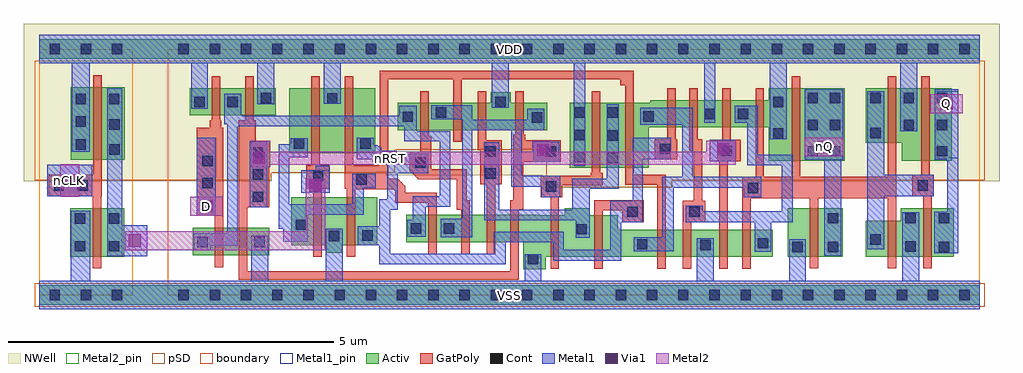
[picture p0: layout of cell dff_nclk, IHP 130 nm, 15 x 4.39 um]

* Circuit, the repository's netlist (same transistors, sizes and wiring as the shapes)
** sch_path: /foss/designs/PROJECTS/cmos-pll-ihp-sg13g2/Combined Design/design_data/xschem/dff_nclk.sch
.SUBCKT dff_nclk nCLK Q D nQ nRST VDD VSS
*.PININFO nCLK:I D:I nRST:I Q:O nQ:O VSS:B VDD:B
x1 net1 D Q nQ nRST VDD VSS sg13g2_dfrbp_1
x2 nCLK VDD VSS net1 sg13g2_inv_1
.ENDS

.SUBCKT sg13g2_dfrbp_1 CLK D Q Q_N RESET_B VDD VSS
*.PININFO CLK:I D:I RESET_B:I Q:O Q_N:O VDD:B VSS:B
MN13 net12 net2 VSS VSS sg13_lv_nmos m=1 w=420.00n l=130.00n ng=1
MN14 net5 clkneg net12 VSS sg13_lv_nmos m=1 w=420.00n l=130.00n ng=1
MN15 net2 net5 net11 VSS sg13_lv_nmos m=1 w=420.00n l=130.00n ng=1
MN16 net11 RESET_B VSS VSS sg13_lv_nmos m=1 w=420.00n l=130.00n ng=1
MN6 Q_N net5 VSS VSS sg13_lv_nmos m=1 w=740.00n l=130.00n ng=1
MN0 Db D net10 VSS sg13_lv_nmos m=1 w=420.00n l=130.00n ng=1
MN1 net10 RESET_B VSS VSS sg13_lv_nmos m=1 w=420.00n l=130.00n ng=1
MN7 Db clkneg net6 VSS sg13_lv_nmos m=1 w=420.00n l=130.00n ng=1
MN8 net6 clkpos net9 VSS sg13_lv_nmos m=1 w=420.00n l=130.00n ng=1
MN9 net9 net4 net8 VSS sg13_lv_nmos m=1 w=420.00n l=130.00n ng=1
MN10 net8 RESET_B VSS VSS sg13_lv_nmos m=1 w=420.00n l=130.00n ng=1
MN11 net4 net6 VSS VSS sg13_lv_nmos m=1 w=640.00n l=130.00n ng=1
MN2 clkneg CLK VSS VSS sg13_lv_nmos m=1 w=740.00n l=130.00n ng=1
MN12 net4 clkpos net5 VSS sg13_lv_nmos m=1 w=640.00n l=130.00n ng=1
MN3 clkpos clkneg VSS VSS sg13_lv_nmos m=1 w=740.00n l=130.00n ng=1
MN4 Q net1 VSS VSS sg13_lv_nmos m=1 w=740.00n l=130.00n ng=1
MN5 net1 net5 VSS VSS sg13_lv_nmos m=1 w=550.00n l=130.00n ng=1
MP14 net5 clkpos net3 VDD sg13_lv_pmos m=1 w=420.00n l=130.00n ng=1
MP15 net2 net5 VDD VDD sg13_lv_pmos m=1 w=420.00n l=130.00n ng=1
MP16 net2 RESET_B VDD VDD sg13_lv_pmos m=1 w=420.00n l=130.00n ng=1
MP6 Q_N net5 VDD VDD sg13_lv_pmos m=1 w=1.12u l=130.00n ng=1
MP7 Db clkpos net6 VDD sg13_lv_pmos m=1 w=420.00n l=130.00n ng=1
MP0 Db RESET_B VDD VDD sg13_lv_pmos m=1 w=420.00n l=130.00n ng=1
MP1 Db D VDD VDD sg13_lv_pmos m=1 w=420.00n l=130.00n ng=1
MP8 net7 net4 VDD VDD sg13_lv_pmos m=1 w=420.00n l=130.00n ng=1
MP9 net6 clkneg net7 VDD sg13_lv_pmos m=1 w=420.00n l=130.00n ng=1
MP10 net6 RESET_B VDD VDD sg13_lv_pmos m=1 w=420.00n l=130.00n ng=1
MP2 clkneg CLK VDD VDD sg13_lv_pmos m=1 w=1.000u l=130.00n ng=1
MP3 clkpos clkneg VDD VDD sg13_lv_pmos m=1 w=1.000u l=130.00n ng=1
MP11 net4 net6 VDD VDD sg13_lv_pmos m=1 w=1.000u l=130.00n ng=1
MP12 net4 clkneg net5 VDD sg13_lv_pmos m=1 w=1.000u l=130.00n ng=1
MP4 Q net1 VDD VDD sg13_lv_pmos m=1 w=1.12u l=130.00n ng=1
MP13 net3 net2 VDD VDD sg13_lv_pmos m=1 w=420.00n l=130.00n ng=1
MP5 net1 net5 VDD VDD sg13_lv_pmos m=1 w=840.00n l=130.00n ng=1
.ENDS

.SUBCKT sg13g2_inv_1 A VDD VSS Y
*.PININFO A:I Y:O VDD:B VSS:B
MX1 Y A VSS VSS sg13_lv_nmos m=1 w=740.00n l=130.00n ng=1
MX0 Y A VDD VDD sg13_lv_pmos m=1 w=1.12u l=130.00n ng=1
.ENDS

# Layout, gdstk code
import gdstk
lib = gdstk.Library(unit=1e-6, precision=1e-09)
def R(c, l, rs):  # rectangles x0, y0, x1, y1
    for r in rs: c.add(gdstk.rectangle(r[:2], r[2:], *l))
def A(c, l, x, y, w, h, nx, ny, dx, dy):  # array of equal rectangles
    R(c, l, [(x+i*dx, y+j*dy, x+i*dx+w, y+j*dy+h) for i in range(nx) for j in range(ny)])
def P(c, l, *ps):  # polygons
    for p in ps: c.add(gdstk.Polygon(p, *l))
Activ = (1, 0)
GatPoly = (5, 0)
Cont = (6, 0)
Metal1 = (8, 0)
Metal1_pin = (8, 2)
Metal2 = (10, 0)
Metal2_pin = (10, 2)
pSD = (14, 0)
Via1 = (19, 0)
NWell = (31, 0)
boundary = (189, 4)

sg13g2_inv_1 = lib.new_cell('sg13g2_inv_1')
R(sg13g2_inv_1, Activ, [(0,-0.15,1.44,0.15), (0.475,0.59,1.305,1.33), (0.485,2.075,1.315,3.195), (0,3.63,1.44,3.93)])
P(sg13g2_inv_1, GatPoly, [(0.825,0.41),(0.825,1.52),(0.145,1.52),(0.145,1.85),(0.835,1.85),(0.835,3.375),(0.965,3.375),(0.965,1.52),(0.955,1.52),(0.955,0.41)])
A(sg13g2_inv_1, Cont, 0.56, 2.235, 0.16, 0.16, 1, 3, 0, 0.35)
R(sg13g2_inv_1, Cont, [(0.16,-0.08,0.32,0.08), (0.16,-0.08,0.32,0.08), (0.64,-0.08,0.8,0.08), (0.64,-0.08,0.8,0.08), (1.12,-0.08,1.28,0.08), (1.12,-0.08,1.28,0.08), (0.55,0.67,0.71,0.83), (1.07,0.67,1.23,0.83), (0.55,1.095,0.71,1.255), (1.07,1.095,1.23,1.255), (0.23,1.605,0.39,1.765), (0.585,1.605,0.745,1.765), (1.08,2.155,1.24,2.315), (1.08,2.54,1.24,2.7), (1.075,2.93,1.235,3.09), (0.16,3.7,0.32,3.86), (0.16,3.7,0.32,3.86), (0.64,3.7,0.8,3.86), (0.64,3.7,0.8,3.86), (1.12,3.7,1.28,3.86), (1.12,3.7,1.28,3.86)])
R(sg13g2_inv_1, Metal1, [(1.045,0.595,1.275,3.175), (0.125,1.52,0.815,2)])
P(sg13g2_inv_1, Metal1, [(0,-0.22),(0,0.22),(0.485,0.22),(0.485,1.295),(0.785,1.295),(0.785,0.22),(1.44,0.22),(1.44,-0.22)],
  [(0.505,2.205),(0.505,3.56),(0,3.56),(0,4),(1.44,4),(1.44,3.56),(0.78,3.56),(0.78,2.205)])
R(sg13g2_inv_1, Metal1_pin, [(0,-0.22,1.44,0.22), (1.045,0.595,1.275,3.175), (0.125,1.52,0.815,2), (0,3.56,1.44,4)])
R(sg13g2_inv_1, pSD, [(-0.07,-0.18,1.51,0.18), (-0.07,1.76,1.51,3.6)])
R(sg13g2_inv_1, NWell, [(-0.24,1.75,1.68,4.17)])
R(sg13g2_inv_1, boundary, [(0,0,1.44,3.78)])
sg13g2_inv_1.add(gdstk.Label('Y', (1.17,1.69), layer=8, texttype=25))
sg13g2_inv_1.add(gdstk.Label('A', (0.485,1.76), layer=8, texttype=25))
sg13g2_inv_1.add(gdstk.Label('VSS', (0.72,-0.02), layer=8, texttype=25))
sg13g2_inv_1.add(gdstk.Label('VDD', (0.705,3.78), layer=8, texttype=25))

sg13g2_dfrbp_1 = lib.new_cell('sg13g2_dfrbp_1')
R(sg13g2_dfrbp_1, Activ, [(0,-0.15,12.48,0.15), (9.525,0.59,10.37,1.33), (0.38,0.61,1.56,1.03), (1.865,2.18,3.185,3.18), (0.335,2.76,1.655,3.18), (0,3.63,12.48,3.93)])
P(sg13g2_dfrbp_1, Activ, [(10.725,0.59),(10.725,1.14),(11.265,1.14),(11.265,1.33),(12.075,1.33),(12.075,0.59)],
  [(11.275,2.06),(11.275,2.34),(10.725,2.34),(10.725,3.18),(12.045,3.18),(12.045,2.06)],
  [(6.175,1.955),(6.175,2.955),(7.41,2.955),(7.41,2.995),(9.23,2.995),(9.23,3.18),(10.4,3.18),(10.4,2.06),(9.23,2.06),(9.23,2.575),(7.39,2.575),(7.39,1.955)],
  [(5.46,0.395),(5.46,0.81),(3.66,0.81),(3.66,1.23),(5.71,1.23),(5.71,1.225),(6.095,1.225),(6.095,1.335),(6.48,1.335),(6.48,1.225),(6.91,1.225),(6.91,1.005),(9.295,1.005),(9.295,0.585),(5.805,0.585),(5.805,0.395)],
  [(3.535,2.535),(3.535,2.955),(4.96,2.955),(4.96,3.115),(5.265,3.115),(5.265,2.955),(5.83,2.955),(5.83,2.535)],
  [(2.435,0.65),(2.435,0.765),(1.895,0.765),(1.895,1.505),(3.215,1.505),(3.215,0.765),(2.675,0.765),(2.675,0.65)])
P(sg13g2_dfrbp_1, GatPoly, [(11.605,0.41),(11.605,1.52),(11.44,1.52),(11.44,1.85),(11.575,1.85),(11.575,3.36),(11.705,3.36),(11.705,1.85),(11.77,1.85),(11.77,1.52),(11.735,1.52),(11.735,0.41)],
  [(8.825,0.405),(8.825,1.53),(8.83,1.53),(8.83,1.815),(9.03,1.815),(9.03,3.175),(9.16,3.175),(9.16,1.815),(9.59,1.815),(9.59,3.36),(9.72,3.36),(9.72,1.815),(11.065,1.815),(11.065,3.36),(11.195,3.36),(11.195,0.41),(11.065,0.41),(11.065,1.485),(9.995,1.485),(9.995,0.41),(9.865,0.41),(9.865,1.485),(8.955,1.485),(8.955,0.405)],
  [(8.47,0.405),(8.47,2.055),(8.445,2.055),(8.445,2.385),(8.52,2.385),(8.52,3.175),(8.65,3.175),(8.65,2.385),(8.8,2.385),(8.8,2.055),(8.6,2.055),(8.6,0.405)],
  [(7.91,0.405),(7.91,1.45),(8.08,1.45),(8.08,2.22),(8.01,2.22),(8.01,3.175),(8.14,3.175),(8.14,2.39),(8.21,2.39),(8.21,1.45),(8.26,1.45),(8.26,1.12),(8.04,1.12),(8.04,0.405)],
  [(7.485,2.085),(7.485,2.395),(7.675,2.395),(7.675,3.175),(7.805,3.175),(7.805,2.395),(7.83,2.395),(7.83,2.085)],
  [(7.52,0.405),(7.52,1.695),(7.025,1.695),(7.025,3.225),(6.95,3.225),(6.95,3.315),(4.515,3.315),(4.515,2.355),(4.385,2.355),(4.385,3.315),(3.385,3.315),(3.385,1.79),(3.53,1.79),(3.53,1.78),(3.54,1.78),(3.54,1.77),(3.55,1.77),(3.55,1.76),(3.56,1.76),(3.56,1.75),(3.57,1.75),(3.57,1.74),(3.58,1.74),(3.58,1.73),(3.59,1.73),(3.59,1.72),(3.6,1.72),(3.6,1.71),(3.61,1.71),(3.61,1.7),(3.62,1.7),(3.62,1.69),(3.63,1.69),(3.63,1.68),(3.645,1.68),(3.645,1.57),(4.13,1.57),(4.13,0.63),(4,0.63),(4,1.42),(3.495,1.42),(3.495,1.6),(3.485,1.6),(3.485,1.61),(3.475,1.61),(3.475,1.62),(3.46,1.62),(3.46,1.625),(2.875,1.625),(2.875,0.585),(2.745,0.585),(2.745,1.63),(2.715,1.63),(2.715,3.36),(2.845,3.36),(2.845,1.995),(3.255,1.995),(3.255,3.445),(7.155,3.445),(7.155,1.845),(7.65,1.845),(7.65,0.405)],
  [(6.55,0.405),(6.55,1.455),(7.31,1.455),(7.31,1.12),(6.98,1.12),(6.98,1.305),(6.68,1.305),(6.68,0.405)],
  [(5.88,0.405),(5.88,1.505),(5.73,1.505),(5.73,1.835),(6.5,1.835),(6.5,1.88),(6.515,1.88),(6.515,3.135),(6.645,3.135),(6.645,1.88),(6.68,1.88),(6.68,1.685),(6.06,1.685),(6.06,1.505),(6.01,1.505),(6.01,0.405)],
  [(1.09,0.235),(1.09,2.685),(1.185,2.685),(1.185,3.36),(1.315,3.36),(1.315,2.685),(1.35,2.685),(1.35,2.36),(1.555,2.36),(1.555,1.35),(1.22,1.35),(1.22,0.365),(5.26,0.365),(5.26,1.46),(5.31,1.46),(5.31,2.46),(5.335,2.46),(5.335,3.135),(5.465,3.135),(5.465,2.46),(5.49,2.46),(5.49,2.375),(6.04,2.375),(6.04,2.045),(5.46,2.045),(5.46,1.31),(5.39,1.31),(5.39,0.235)],
  [(4.9,0.63),(4.9,1.705),(4.8,1.705),(4.8,2.225),(4.76,2.225),(4.76,3.135),(4.89,3.135),(4.89,2.375),(5.13,2.375),(5.13,1.705),(5.03,1.705),(5.03,0.63)],
  [(4.51,0.63),(4.51,1.31),(4.44,1.31),(4.44,1.78),(3.84,1.78),(3.84,1.795),(3.83,1.795),(3.83,1.805),(3.82,1.805),(3.82,1.815),(3.81,1.815),(3.81,1.825),(3.8,1.825),(3.8,1.835),(3.79,1.835),(3.79,1.845),(3.78,1.845),(3.78,1.855),(3.77,1.855),(3.77,1.865),(3.76,1.865),(3.76,1.875),(3.75,1.875),(3.75,1.885),(3.74,1.885),(3.74,1.895),(3.73,1.895),(3.73,1.905),(3.72,1.905),(3.72,2.205),(3.875,2.205),(3.875,3.135),(4.005,3.135),(4.005,2.43),(4.05,2.43),(4.05,1.93),(4.59,1.93),(4.59,1.46),(4.64,1.46),(4.64,0.63)],
  [(2.235,0.585),(2.235,1.63),(2.125,1.63),(2.125,1.995),(2.205,1.995),(2.205,3.36),(2.335,3.36),(2.335,1.995),(2.48,1.995),(2.48,1.63),(2.365,1.63),(2.365,0.585)],
  [(0.72,0.43),(0.72,1.22),(0.445,1.22),(0.445,2.57),(0.64,2.57),(0.64,2.685),(0.675,2.685),(0.675,3.36),(0.805,3.36),(0.805,2.685),(0.82,2.685),(0.82,2.57),(0.85,2.57),(0.85,0.43)])
A(sg13g2_dfrbp_1, Cont, 0.16, -0.08, 0.16, 0.16, 26, 2, 0.48, 3.78)
A(sg13g2_dfrbp_1, Cont, 0.525, 1.3, 0.16, 0.16, 1, 3, 0, 0.34)
A(sg13g2_dfrbp_1, Cont, 1.305, 1.43, 0.16, 0.16, 1, 3, 0, 0.34)
R(sg13g2_dfrbp_1, Cont, [(5.53,0.47,5.69,0.63), (9.595,0.66,9.755,0.82), (10.14,0.66,10.3,0.82), (11.845,0.66,12.005,0.82), (11.335,0.665,11.495,0.825), (8.18,0.69,8.34,0.85), (7.21,0.7,7.37,0.86), (9.065,0.715,9.225,0.875), (0.45,0.735,0.61,0.895), (1.33,0.735,1.49,0.895), (10.795,0.775,10.955,0.935), (2.475,0.825,2.635,0.985), (2.985,0.835,3.145,0.995), (6.28,0.93,6.44,1.09), (3.73,0.945,3.89,1.105), (4.24,0.945,4.4,1.105), (1.965,1,2.125,1.16), (10.14,1.1,10.3,1.26), (11.335,1.1,11.495,1.26), (11.845,1.1,12.005,1.26), (7.06,1.2,7.22,1.36), (8.01,1.2,8.17,1.36), (8.91,1.565,9.07,1.725), (5.81,1.585,5.97,1.745), (11.52,1.6,11.68,1.76), (2.895,1.695,3.055,1.855), (2.23,1.745,2.39,1.905), (4.88,1.785,5.04,1.945), (3.8,1.955,3.96,2.115), (6.755,2.025,6.915,2.185), (6.245,2.04,6.405,2.2), (4.88,2.125,5.04,2.285), (5.81,2.125,5.97,2.285), (9.83,2.13,9.99,2.29), (10.17,2.13,10.33,2.29), (11.815,2.13,11.975,2.29), (8.515,2.135,8.675,2.295), (7.555,2.165,7.715,2.325), (1.935,2.25,2.095,2.41), (2.955,2.25,3.115,2.41), (6.755,2.37,6.915,2.53), (6.245,2.38,6.405,2.54), (9.3,2.405,9.46,2.565), (10.795,2.41,10.955,2.57), (9.83,2.535,9.99,2.695), (10.17,2.535,10.33,2.695), (11.305,2.535,11.465,2.695), (11.815,2.535,11.975,2.695), (5.595,2.65,5.755,2.81), (3.605,2.66,3.765,2.82), (7.305,2.665,7.465,2.825), (8.25,2.7,8.41,2.86), (8.76,2.7,8.92,2.86), (4.115,2.725,4.275,2.885), (6.245,2.725,6.405,2.885), (6.755,2.725,6.915,2.885), (0.405,2.885,0.565,3.045), (0.915,2.885,1.075,3.045), (5.03,2.885,5.19,3.045), (9.3,2.885,9.46,3.045), (2.445,2.94,2.605,3.1), (10.795,2.945,10.955,3.105), (1.425,2.95,1.585,3.11), (9.83,2.95,9.99,3.11), (10.17,2.95,10.33,3.11), (11.305,2.95,11.465,3.11), (11.815,2.95,11.975,3.11)])
R(sg13g2_dfrbp_1, Metal1, [(0.44,1.22,0.735,2.415), (1.255,1.35,1.525,2.36), (5.615,2.045,6.015,2.355), (8.325,2.055,8.725,2.385)])
P(sg13g2_dfrbp_1, Metal1, [(2.045,1.575),(2.045,1.915),(2.27,1.915),(2.27,1.985),(2.49,1.985),(2.49,1.575)],
  [(0,-0.22),(0,0.22),(1.28,0.22),(1.28,0.91),(1.54,0.91),(1.54,0.22),(2.425,0.22),(2.425,1.02),(2.685,1.02),(2.685,0.22),(5.48,0.22),(5.48,0.63),(5.74,0.63),(5.74,0.22),(8.13,0.22),(8.13,0.875),(8.39,0.875),(8.39,0.22),(9.545,0.22),(9.545,0.86),(9.805,0.86),(9.805,0.22),(11.285,0.22),(11.285,1.27),(11.545,1.27),(11.545,0.22),(12.48,0.22),(12.48,-0.22)],
  [(6.235,1.99),(6.235,3.56),(5.24,3.56),(5.24,2.875),(4.98,2.875),(4.98,3.56),(2.655,3.56),(2.655,2.94),(2.395,2.94),(2.395,3.56),(1.635,3.56),(1.635,2.935),(1.375,2.935),(1.375,3.56),(0.615,3.56),(0.615,2.86),(0.355,2.86),(0.355,3.56),(0,3.56),(0,4),(12.48,4),(12.48,3.56),(11.515,3.56),(11.515,2.52),(11.255,2.52),(11.255,3.56),(9.51,3.56),(9.51,2.395),(9.25,2.395),(9.25,3.56),(8.415,3.56),(8.415,2.65),(8.245,2.65),(8.245,3.56),(6.415,3.56),(6.415,1.99)],
  [(11.775,0.645),(11.775,1.28),(11.975,1.28),(11.975,2.08),(11.785,2.08),(11.785,3.16),(12.145,3.16),(12.145,0.645)],
  [(10.745,0.705),(10.745,3.135),(11.005,3.135),(11.005,1.85),(11.77,1.85),(11.77,1.52),(11.01,1.52),(11.01,0.705)],
  [(10.09,0.605),(10.09,2.08),(9.79,2.08),(9.79,3.165),(10.38,3.165),(10.38,2.08),(10.35,2.08),(10.35,0.605)],
  [(9.015,0.665),(9.015,1.12),(7.96,1.12),(7.96,1.375),(8.22,1.375),(8.22,1.29),(9.435,1.29),(9.435,1.995),(8.905,1.995),(8.905,2.645),(8.71,2.645),(8.71,2.91),(9.065,2.91),(9.065,2.155),(9.6,2.155),(9.6,1.12),(9.275,1.12),(9.275,0.665)],
  [(7.16,0.67),(7.16,0.885),(7.6,0.885),(7.6,1.815),(7.905,1.815),(7.905,2.615),(7.255,2.615),(7.255,2.875),(8.065,2.875),(8.065,1.815),(9.12,1.815),(9.12,1.5),(8.85,1.5),(8.85,1.645),(7.77,1.645),(7.77,0.67)],
  [(3.25,0.475),(3.25,0.765),(2.92,0.765),(2.92,1.055),(3.25,1.055),(3.25,1.47),(3.37,1.47),(3.37,2.045),(3.14,2.045),(3.14,2.085),(2.905,2.085),(2.905,2.415),(3.165,2.415),(3.165,2.3),(3.225,2.3),(3.225,2.285),(3.245,2.285),(3.245,2.28),(3.25,2.28),(3.25,2.26),(3.275,2.26),(3.275,2.215),(3.515,2.215),(3.515,2.17),(4,2.17),(4,1.875),(3.53,1.875),(3.53,1.31),(3.415,1.31),(3.415,0.635),(5.005,0.635),(5.005,0.97),(6.08,0.97),(6.08,0.695),(6.795,0.695),(6.795,1.45),(7.14,1.45),(7.14,2.415),(7.725,2.415),(7.725,2.085),(7.3,2.085),(7.3,1.12),(6.965,1.12),(6.965,0.53),(5.92,0.53),(5.92,0.81),(5.19,0.81),(5.19,0.475)],
  [(6.265,0.88),(6.265,1.15),(4.86,1.15),(4.86,2.345),(5.095,2.345),(5.095,1.31),(6.215,1.31),(6.215,1.79),(6.745,1.79),(6.745,2.935),(6.925,2.935),(6.925,1.63),(6.48,1.63),(6.48,0.88)],
  [(4.195,0.89),(4.195,1.175),(4.52,1.175),(4.52,2.7),(4.045,2.7),(4.045,2.915),(4.68,2.915),(4.68,2.695),(5.525,2.695),(5.525,2.86),(5.785,2.86),(5.785,2.535),(5.435,2.535),(5.435,1.835),(6.03,1.835),(6.03,1.505),(5.74,1.505),(5.74,1.665),(5.275,1.665),(5.275,2.535),(4.68,2.535),(4.68,0.89)],
  [(0.4,0.685),(0.4,0.95),(0.915,0.95),(0.915,2.625),(0.865,2.625),(0.865,3.095),(1.125,3.095),(1.125,2.755),(3.555,2.755),(3.555,2.91),(3.82,2.91),(3.82,2.52),(4.34,2.52),(4.34,1.355),(3.96,1.355),(3.96,0.895),(3.68,0.895),(3.68,1.155),(3.765,1.155),(3.765,1.515),(4.18,1.515),(4.18,2.36),(3.63,2.36),(3.63,2.595),(1.075,2.595),(1.075,0.76),(0.66,0.76),(0.66,0.685)],
  [(1.775,0.815),(1.775,1.02),(1.705,1.02),(1.705,2.315),(1.885,2.315),(1.885,2.41),(2.145,2.41),(2.145,2.12),(1.865,2.12),(1.865,1.395),(2.835,1.395),(2.835,1.865),(3.19,1.865),(3.19,1.645),(3.01,1.645),(3.01,1.235),(2.145,1.235),(2.145,0.815)])
R(sg13g2_dfrbp_1, Metal1_pin, [(0,-0.22,12.48,0.22), (0.44,1.22,0.735,2.415), (2.045,1.575,2.49,1.915), (9.79,2.08,10.38,3.165), (11.785,2.105,12.145,3.135), (0,3.56,12.48,4)])
P(sg13g2_dfrbp_1, Metal2, [(1.28,1.965),(1.28,2.37),(1.57,2.37),(1.57,2.2),(5.6,2.2),(5.6,2.37),(5.89,2.37),(5.89,2.2),(8.275,2.2),(8.275,2.37),(8.725,2.37),(8.725,2),(1.57,2),(1.57,1.965)])
R(sg13g2_dfrbp_1, Metal2_pin, [(1.28,1.965,1.57,2.37)])
R(sg13g2_dfrbp_1, pSD, [(-0.07,-0.18,12.55,0.18)])
P(sg13g2_dfrbp_1, pSD, [(5.815,1.655),(5.815,2.235),(3.485,2.235),(3.485,1.88),(1.585,1.88),(1.585,1.76),(-0.07,1.76),(-0.07,3.6),(12.55,3.6),(12.55,1.76),(7.745,1.76),(7.745,1.655)])
R(sg13g2_dfrbp_1, Via1, [(1.305,2.015,1.495,2.205), (5.665,2.13,5.855,2.32), (8.44,2.145,8.63,2.335)])
P(sg13g2_dfrbp_1, NWell, [(5.765,1.645),(5.765,1.84),(3.345,1.84),(3.345,1.87),(1.595,1.87),(1.595,1.75),(-0.3,1.75),(-0.3,4.17),(12.78,4.17),(12.78,1.75),(7.755,1.75),(7.755,1.645)])
R(sg13g2_dfrbp_1, boundary, [(0,0,12.48,3.78)])
sg13g2_dfrbp_1.add(gdstk.Label('D', (0.605,1.8), layer=8, texttype=25))
sg13g2_dfrbp_1.add(gdstk.Label('Q_N', (10.08,2.635), layer=8, texttype=25))
sg13g2_dfrbp_1.add(gdstk.Label('CLK', (2.365,1.725), layer=8, texttype=25))
sg13g2_dfrbp_1.add(gdstk.Label('VSS', (5.98,0), layer=8, texttype=25))
sg13g2_dfrbp_1.add(gdstk.Label('VDD', (6.165,3.78), layer=8, texttype=25))
sg13g2_dfrbp_1.add(gdstk.Label('Q', (11.995,2.75), layer=8, texttype=25))
sg13g2_dfrbp_1.add(gdstk.Label('RESET_B', (1.44,2.1), layer=10, texttype=25))

dff_nclk = lib.new_cell('dff_nclk')
R(dff_nclk, Activ, [(-2.49,-0.57,-1.95,-0.27), (-2.49,3.21,-1.95,3.51)])
R(dff_nclk, Metal1, [(-2.49,-0.64,-1.95,-0.2), (-2.655,0.175,-2.265,0.655), (-2.49,3.14,-1.95,3.58)])
R(dff_nclk, Metal1_pin, [(-3.93,-0.64,10.53,-0.2), (-3.93,3.14,10.53,3.58)])
R(dff_nclk, Metal2, [(-1.61,0.8,-1.11,1.09), (-3.605,1.09,-3.315,1.59), (7.84,1.71,8.43,2), (9.765,2.375,10.265,2.665)])
P(dff_nclk, Metal2, [(-2.605,0.27),(-2.605,0.56),(0.165,0.56),(0.165,1.37),(0.465,1.37),(0.465,0.27)])
R(dff_nclk, Metal2_pin, [(-1.61,0.8,-1.11,1.09), (-3.605,1.09,-3.315,1.59), (1.215,1.58,1.715,1.78), (7.84,1.71,8.43,2), (9.765,2.375,10.265,2.665)])
R(dff_nclk, pSD, [(-2.42,-0.6,-2.02,-0.24), (-2.42,1.34,-2.02,3.18)])
R(dff_nclk, Via1, [(-2.555,0.32,-2.365,0.51), (-1.455,0.85,-1.265,1.04), (0.225,1.17,0.415,1.36), (-3.555,1.245,-3.365,1.435), (8.04,1.76,8.23,1.95), (9.92,2.425,10.11,2.615)])
dff_nclk.add(gdstk.Reference(sg13g2_inv_1, (-3.93,-0.42)))
dff_nclk.add(gdstk.Reference(sg13g2_dfrbp_1, (-1.95,-0.42)))
dff_nclk.add(gdstk.Label('VDD', (3.3,3.36), layer=8, texttype=25))
dff_nclk.add(gdstk.Label('VSS', (3.3,-0.42), layer=8, texttype=25))
dff_nclk.add(gdstk.Label('nRST', (1.465,1.68), layer=10, texttype=25))
dff_nclk.add(gdstk.Label('nCLK', (-3.46,1.34), layer=10, texttype=25))
dff_nclk.add(gdstk.Label('D', (-1.363,0.945), layer=10, texttype=25))
dff_nclk.add(gdstk.Label('nQ', (8.135,1.855), layer=10, texttype=25))
dff_nclk.add(gdstk.Label('Q', (10.015,2.52), layer=10, texttype=25))

lib.write_gds('dff_nclk.gds')
